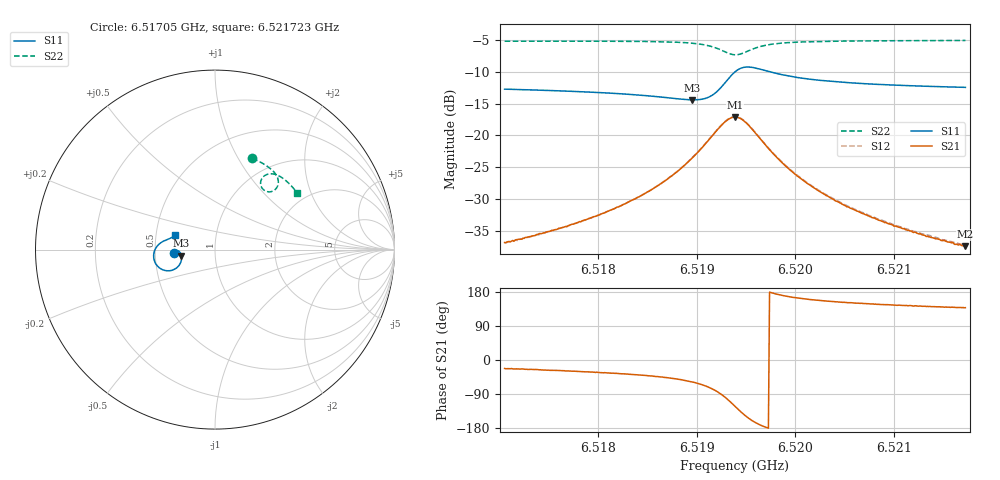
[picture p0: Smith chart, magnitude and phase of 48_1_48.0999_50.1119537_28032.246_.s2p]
#  HZ  S  RI  R  50.00
! Rohde & Schwarz Vector Network Analyzer
! Rohde-Schwarz,ZNB20-2Port,1311601062101988,3.16
! Created: UTC 12/23/2023, 3:39:28 AM
! freq[Hz]  re:S11  im:S11  re:S21  im:S21  re:S12  im:S12  re:S22  im:S22
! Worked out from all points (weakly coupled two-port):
!   401 points, 6.51705 GHz to 6.521723 GHz, reference 50 ohm
!   highest |S21| = -17.11 dB at 6.519387 GHz (marker M1); lowest = -37.4 dB at 6.521723 GHz (marker M2)
!   lowest |S11| = -14.4 dB at 6.518954 GHz (marker M3), VSWR 1.47, Z = 34.2 - j2.34 ohm
!   |S11| at or under -10 dB: start of sweep to 6.519388 GHz; 6.519738 GHz to end of sweep
!   |S22| runs from -7.3 to -5.1 dB; largest |S21 - S12| = 0.0042
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6.5170499e9  -0.2302 -0.0162  0.0134 -0.0055  0.0135 -0.00493  0.2073 0.5077
6.5174237e9  -0.226 -0.0108  0.0152 -0.00749  0.0154 -0.0069  0.235 0.496
6.5178327e9  -0.2202 -0.0061  0.0184 -0.0108  0.0186 -0.0103  0.2652 0.4805
6.5182299e9  -0.2122 -0.00427  0.0226 -0.0166  0.0233 -0.0159  0.295 0.4617
6.5186154e9  -0.2006 -0.00929  0.0292 -0.0286  0.0303 -0.0278  0.3248 0.4365
6.5188024e9  -0.1931 -0.0181  0.0332 -0.0402  0.0347 -0.0394  0.3394 0.4182
6.5189543e9  -0.1874 -0.033  0.0354 -0.0565  0.0374 -0.0557  0.3495 0.3974
6.5190594e9  -0.1862 -0.0509  0.0333 -0.0742  0.0358 -0.0737  0.3532 0.3773
6.5191529e9  -0.1923 -0.0745  0.0241 -0.0958  0.0271 -0.0958  0.3492 0.3545
6.5192113e9  -0.2038 -0.0923  0.0112 -0.1111  0.0145 -0.1116  0.3399 0.3393
6.5192931e9  -0.2372 -0.1143  -0.022 -0.1274  -0.0187 -0.1291  0.3139 0.3231
6.5193866e9  -0.2955 -0.1104  -0.0743 -0.118  -0.0714 -0.121  0.2737 0.3308
6.5194333e9  -0.3207 -0.0916  -0.0944 -0.0989  -0.0926 -0.1022  0.2593 0.3474
6.5194917e9  -0.3385 -0.0598  -0.1067 -0.0693  -0.1056 -0.0728  0.2538 0.3718
6.5195852e9  -0.3389 -0.0136  -0.1021 -0.0295  -0.1022 -0.0327  0.266 0.4027
6.5196903e9  -0.3231 0.0181  -0.0849 -0.00478  -0.0854 -0.0074  0.289 0.4185
6.5199357e9  -0.2886 0.0462  -0.053 0.0122  -0.054 0.0108  0.332 0.4199
6.5201693e9  -0.2693 0.055  -0.037 0.0142  -0.0379 0.0133  0.3592 0.4091
6.5204965e9  -0.2534 0.0612  -0.025 0.0132  -0.0258 0.0128  0.3871 0.3907
6.5209521e9  -0.2399 0.068  -0.0167 0.0114  -0.0173 0.0111  0.4171 0.3635
6.5213494e9  -0.2315 0.0734  -0.0124 0.0101  -0.0132 0.00985  0.4391 0.3396
6.5217233e9  -0.2251 0.0786  -0.0101 0.00905  -0.0105 0.00904  0.4575 0.3164
